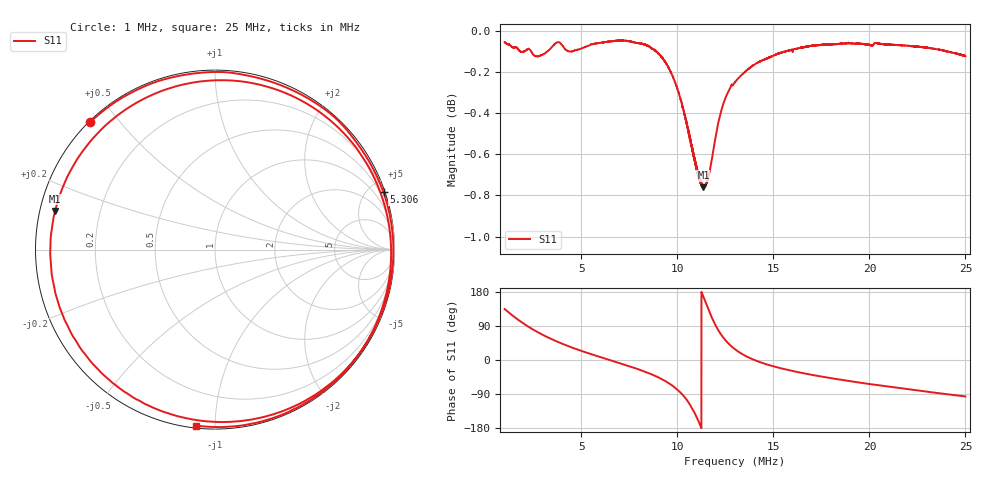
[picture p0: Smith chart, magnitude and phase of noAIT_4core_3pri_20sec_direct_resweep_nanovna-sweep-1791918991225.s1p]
! NanoVNA Web complex sweep
! Processing: unaveraged complex samples; linear segment spacing; no smoothing
# Hz S RI R 50
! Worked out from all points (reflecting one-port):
!   5050 points, 1 MHz to 25 MHz, reference 50 ohm
!   lowest |S11| = -0.8 dB at 11.36 MHz (marker M1), VSWR 22.85, Z = 2.22 + j5.95 ohm
!   phase of S11 starts at 135 deg and turns -591 deg over the sweep
!   S11 on the Smith chart (normalised r, x): 1 MHz: 0.00, +0.42; 5.306 MHz: 0.16, +6.05; 25 MHz: 0.01, -0.90
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1000000  -0.6966 0.7086
1608384  -0.3342 0.9328
2226274  0.0306 0.9896
3096073  0.4401 0.8839
4003896  0.727 0.6747
5306218  0.9388 0.3189
7003039  0.984 -0.1448
7991663  0.9011 -0.4175
8804426  0.7458 -0.65
9460340  0.5155 -0.8349
1.000218e7  0.1942 -0.9484
1.041569e7  -0.1754 -0.9364
1.07389e7  -0.5372 -0.7684
1.091e7  -0.7232 -0.5835
1.109062e7  -0.8714 -0.3044
1.135679e7  -0.8905 0.2153
1.150888e7  -0.7674 0.5047
1.167999e7  -0.5329 0.7556
1.197468e7  -0.0446 0.9405
1.221233e7  0.297 0.906
1.244998e7  0.5478 0.7905
1.300132e7  0.856 0.4597
1.353841e7  0.9594 0.187
1.427513e7  0.9788 -0.0889
1.600047e7  0.8636 -0.4803
1.899961e7  0.5564 -0.8225
2.199875e7  0.2199 -0.9671
2.49979e7  -0.1063 -0.9801
